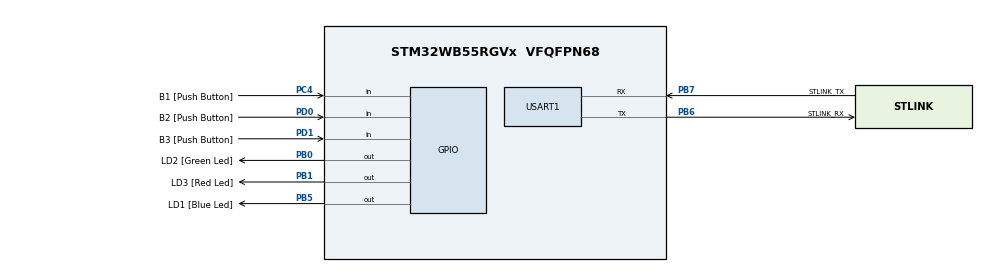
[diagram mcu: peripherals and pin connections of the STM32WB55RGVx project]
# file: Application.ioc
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Mcu.Family=STM32WB
Mcu.Name=STM32WB55RGVx
Mcu.Package=VFQFPN68
NUCLEO-WB55RG.Bsp_Common_DEMO=true
NVIC.PriorityGroup=NVIC_PRIORITYGROUP_4
NVIC.USART1_IRQn=true\:0\:0\:false\:false\:true\:true\:true\:true
OSC_IN.GPIO_Label=RCC_OSC_IN
OSC_IN.Signal=RCC_OSC_IN
OSC_OUT.GPIO_Label=RCC_OSC_OUT
OSC_OUT.Signal=RCC_OSC_OUT
PA11.GPIO_Label=USB_DM
PA11.Signal=USB_DM
PA12.GPIO_Label=USB_DP
PA12.Signal=USB_DP
PA13.GPIO_Label=JTMS
PA13.Signal=SYS_JTMS-SWDIO
PA14.GPIO_Label=JTCK
PA14.Signal=SYS_JTCK-SWCLK
PB0.GPIO_Label=LD2 [Green Led]
PB0.Signal=GPIO_Output
PB1.GPIO_Label=LD3 [Red Led]
PB1.Signal=GPIO_Output
PB3.GPIO_Label=JTDO
PB3.Signal=SYS_JTDO-SWO
PB5.GPIO_Label=LD1 [Blue Led]
PB5.Signal=GPIO_Output
PB6.GPIO_Label=STLINK_RX
PB6.Mode=Asynchronous
PB6.Signal=USART1_TX
PB7.GPIO_Label=STLINK_TX
PB7.Mode=Asynchronous
PB7.Signal=USART1_RX
PC13.GPIO_Label=SYS_WKUP2
PC13.Signal=SYS_WKUP2
PC14-OSC32_IN.GPIO_Label=RCC_OSC32_IN
PC14-OSC32_IN.Signal=RCC_OSC32_IN
PC15-OSC32_OUT.GPIO_Label=RCC_OSC32_OUT
PC15-OSC32_OUT.Signal=RCC_OSC32_OUT
PC4.GPIO_Label=B1 [Push Button]
PC4.Signal=GPIO_Input
PD0.GPIO_Label=B2 [Push Button]
PD0.Signal=GPIO_Input
PD1.GPIO_Label=B3 [Push Button]
PD1.Signal=GPIO_Input
ProjectManager.HeapSize=0x200
ProjectManager.StackSize=0x400
ProjectManager.TargetToolchain=STM32CubeIDE
RCC.ADCFreq_Value=128000000
RCC.AHBFreq_Value=32000000
RCC.APB1Freq_Value=32000000
RCC.APB1TimFreq_Value=32000000
RCC.APB2Freq_Value=32000000
RCC.APB2TimFreq_Value=32000000
RCC.APB3Freq_Value=16000000
RCC.CortexFreq_Value=32000000
RCC.HCLKFreq_Value=32000000
RCC.HSE_VALUE=32000000
RCC.HSI48_VALUE=48000000
RCC.HSI_VALUE=16000000
RCC.LSE_VALUE=32768
RCC.MSIClockRange=RCC_MSIRANGE_10
RCC.SMPSCLockSelection=RCC_SMPSCLKSOURCE_HSI
RCC.SMPSCLockSelectionVirtual=RCC_SMPSCLKSOURCE_HSI
RCC.SMPSCLockSelectionVirtualVirtual=RCC_SMPSCLKSOURCE_HSI
RCC.SMPSDivider=1
RCC.SYSCLKFreq_VALUE=32000000
RCC.USBFreq_Value=128000000
RCC.VCOOutputFreq_Value=256000000
USART1.VirtualMode-Asynchronous=VM_ASYNC
VP_MEMORYMAP_VS_MEMORYMAP.Mode=CurAppReg
VP_NUCLEO-WB55RG_VS_BSP_COMMON.Mode=COMMON
board=NUCLEO-WB55RG

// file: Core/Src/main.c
/* USER CODE BEGIN Header */
/**
  ******************************************************************************
  * @file           : main.c
  * @brief          : Main program body
  ******************************************************************************
  * @attention
  *
  * Copyright (c) 2025 STMicroelectronics.
  * All rights reserved.
  *
  * This software is licensed under terms that can be found in the LICENSE file
  * in the root directory of this software component.
  * If no LICENSE file comes with this software, it is provided AS-IS.
  *
  ******************************************************************************
  */
/* USER CODE END Header */
#include "main.h"

/* USER CODE BEGIN Includes */
#include<stdio.h>
/* USER CODE END Includes */

/* USER CODE BEGIN PM */
#define MAJOR 0   // BL Major version Number
#define MINOR 1   // BL Minor version Number
/* USER CODE END PM */

static uint32_t delay = 250;
UART_HandleTypeDef huart1;

/* USER CODE BEGIN PV */
const uint8_t APP_Version[2] = { MAJOR, MINOR };
/* USER CODE END PV */

void SystemClock_Config(void);
void PeriphCommonClock_Config(void);
static void MX_GPIO_Init(void);
static void MX_USART1_UART_Init(void);

int main(void)
{

  /* MCU Configuration--------------------------------------------------------*/

  /* Reset of all peripherals, Initializes the Flash interface and the Systick. */
  HAL_Init();

  /* Configure the system clock */
  SystemClock_Config();

  /* Configure the peripherals common clocks */
  PeriphCommonClock_Config();

  /* Initialize all configured peripherals */
  MX_GPIO_Init();
  MX_USART1_UART_Init();
  /* USER CODE BEGIN 2 */
  printf("Starting Application(%d.%d) [by: ELHALOUA MOHAMED]\r\n", APP_Version[0], APP_Version[1] );
  /* USER CODE END 2 */

  /* Infinite loop */
  while (1)
  {

    /* USER CODE BEGIN 3 */
	HAL_GPIO_WritePin( GPIOB, GPIO_PIN_1, GPIO_PIN_SET );
	HAL_Delay(1000);    //1 Sec delay
	HAL_GPIO_WritePin( GPIOB, GPIO_PIN_1, GPIO_PIN_RESET );
	HAL_Delay(1000);  //1 Sec delay
  }
  /* USER CODE END 3 */
}

void SystemClock_Config(void)
{
  RCC_OscInitTypeDef RCC_OscInitStruct = {0};
  RCC_ClkInitTypeDef RCC_ClkInitStruct = {0};

  /** Configure the main internal regulator output voltage
  */
  __HAL_PWR_VOLTAGESCALING_CONFIG(PWR_REGULATOR_VOLTAGE_SCALE1);

  /** Initializes the RCC Oscillators according to the specified parameters
  * in the RCC_OscInitTypeDef structure.
  */
  RCC_OscInitStruct.OscillatorType = RCC_OSCILLATORTYPE_HSI|RCC_OSCILLATORTYPE_MSI;
  RCC_OscInitStruct.HSIState = RCC_HSI_ON;
  RCC_OscInitStruct.MSIState = RCC_MSI_ON;
  RCC_OscInitStruct.HSICalibrationValue = RCC_HSICALIBRATION_DEFAULT;
  RCC_OscInitStruct.MSICalibrationValue = RCC_MSICALIBRATION_DEFAULT;
  RCC_OscInitStruct.MSIClockRange = RCC_MSIRANGE_10;
  RCC_OscInitStruct.PLL.PLLState = RCC_PLL_NONE;
  if (HAL_RCC_OscConfig(&RCC_OscInitStruct) != HAL_OK)
  {
    Error_Handler();
  }

  /** Configure the SYSCLKSource, HCLK, PCLK1 and PCLK2 clocks dividers
  */
  RCC_ClkInitStruct.ClockType = RCC_CLOCKTYPE_HCLK4|RCC_CLOCKTYPE_HCLK2
                              |RCC_CLOCKTYPE_HCLK|RCC_CLOCKTYPE_SYSCLK
                              |RCC_CLOCKTYPE_PCLK1|RCC_CLOCKTYPE_PCLK2;
  RCC_ClkInitStruct.SYSCLKSource = RCC_SYSCLKSOURCE_MSI;
  RCC_ClkInitStruct.AHBCLKDivider = RCC_SYSCLK_DIV1;
  RCC_ClkInitStruct.APB1CLKDivider = RCC_HCLK_DIV1;
  RCC_ClkInitStruct.APB2CLKDivider = RCC_HCLK_DIV1;
  RCC_ClkInitStruct.AHBCLK2Divider = RCC_SYSCLK_DIV1;
  RCC_ClkInitStruct.AHBCLK4Divider = RCC_SYSCLK_DIV1;

  if (HAL_RCC_ClockConfig(&RCC_ClkInitStruct, FLASH_LATENCY_1) != HAL_OK)
  {
    Error_Handler();
  }
}

void PeriphCommonClock_Config(void)
{
  RCC_PeriphCLKInitTypeDef PeriphClkInitStruct = {0};

  /** Initializes the peripherals clock
  */
  PeriphClkInitStruct.PeriphClockSelection = RCC_PERIPHCLK_SMPS;
  PeriphClkInitStruct.SmpsClockSelection = RCC_SMPSCLKSOURCE_HSI;
  PeriphClkInitStruct.SmpsDivSelection = RCC_SMPSCLKDIV_RANGE0;

  if (HAL_RCCEx_PeriphCLKConfig(&PeriphClkInitStruct) != HAL_OK)
  {
    Error_Handler();
  }
}

static void MX_USART1_UART_Init(void)
{

  huart1.Instance = USART1;
  huart1.Init.BaudRate = 115200;
  huart1.Init.WordLength = UART_WORDLENGTH_8B;
  huart1.Init.StopBits = UART_STOPBITS_1;
  huart1.Init.Parity = UART_PARITY_NONE;
  huart1.Init.Mode = UART_MODE_TX_RX;
  huart1.Init.HwFlowCtl = UART_HWCONTROL_NONE;
  huart1.Init.OverSampling = UART_OVERSAMPLING_16;
  huart1.Init.OneBitSampling = UART_ONE_BIT_SAMPLE_DISABLE;
  huart1.Init.ClockPrescaler = UART_PRESCALER_DIV1;
  huart1.AdvancedInit.AdvFeatureInit = UART_ADVFEATURE_NO_INIT;
  if (HAL_UART_Init(&huart1) != HAL_OK)
  {
    Error_Handler();
  }
  if (HAL_UARTEx_SetTxFifoThreshold(&huart1, UART_TXFIFO_THRESHOLD_1_8) != HAL_OK)
  {
    Error_Handler();
  }
  if (HAL_UARTEx_SetRxFifoThreshold(&huart1, UART_RXFIFO_THRESHOLD_1_8) != HAL_OK)
  {
    Error_Handler();
  }
  if (HAL_UARTEx_DisableFifoMode(&huart1) != HAL_OK)
  {
    Error_Handler();
  }

}

static void MX_GPIO_Init(void)
{
  GPIO_InitTypeDef GPIO_InitStruct = {0};

  /* GPIO Ports Clock Enable */
  __HAL_RCC_GPIOC_CLK_ENABLE();
  __HAL_RCC_GPIOB_CLK_ENABLE();
  __HAL_RCC_GPIOA_CLK_ENABLE();
  __HAL_RCC_GPIOD_CLK_ENABLE();

  /*Configure GPIO pin Output Level */
  HAL_GPIO_WritePin(GPIOB, LD2_Pin|LD3_Pin|LD1_Pin, GPIO_PIN_RESET);

  /*Configure GPIO pin : B1_Pin */
  GPIO_InitStruct.Pin = B1_Pin;
  GPIO_InitStruct.Mode = GPIO_MODE_INPUT;
  GPIO_InitStruct.Pull = GPIO_NOPULL;
  HAL_GPIO_Init(B1_GPIO_Port, &GPIO_InitStruct);

  /*Configure GPIO pins : LD2_Pin LD3_Pin LD1_Pin */
  GPIO_InitStruct.Pin = LD2_Pin|LD3_Pin|LD1_Pin;
  GPIO_InitStruct.Mode = GPIO_MODE_OUTPUT_PP;
  GPIO_InitStruct.Pull = GPIO_NOPULL;
  GPIO_InitStruct.Speed = GPIO_SPEED_FREQ_LOW;
  HAL_GPIO_Init(GPIOB, &GPIO_InitStruct);

  /*Configure GPIO pins : USB_DM_Pin USB_DP_Pin */
  GPIO_InitStruct.Pin = USB_DM_Pin|USB_DP_Pin;
  GPIO_InitStruct.Mode = GPIO_MODE_AF_PP;
  GPIO_InitStruct.Pull = GPIO_NOPULL;
  GPIO_InitStruct.Speed = GPIO_SPEED_FREQ_LOW;
  GPIO_InitStruct.Alternate = GPIO_AF10_USB;
  HAL_GPIO_Init(GPIOA, &GPIO_InitStruct);

  /*Configure GPIO pins : B2_Pin B3_Pin */
  GPIO_InitStruct.Pin = B2_Pin|B3_Pin;
  GPIO_InitStruct.Mode = GPIO_MODE_INPUT;
  GPIO_InitStruct.Pull = GPIO_NOPULL;
  HAL_GPIO_Init(GPIOD, &GPIO_InitStruct);

}

/* USER CODE BEGIN 4 */
//int _write(int file, char *ptr, int len)
//{
//    (void)file;
//    int DataIdx;
//    for (DataIdx = 0; DataIdx < len; DataIdx++)
//    {
//        ITM_SendChar(*ptr++);
//    }
//    return len;
//}
/**
  * @brief Print the characters to UART (printf).
  * @retval int
  */
#ifdef __GNUC__
  /* With GCC, small printf (option LD Linker->Libraries->Small printf
     set to 'Yes') calls __io_putchar() */
int __io_putchar(int ch)
#else
int fputc(int ch, FILE *f)
#endif /* __GNUC__ */
{
  /* Place your implementation of fputc here */
  /* e.g. write a character to the UART3 and Loop until the end of transmission */
  HAL_UART_Transmit(&huart1, (uint8_t *)&ch, 1, HAL_MAX_DELAY);
  return ch;
}
/* USER CODE END 4 */

void Error_Handler(void)
{
  __disable_irq();
  while (1)
  {
  }
}
